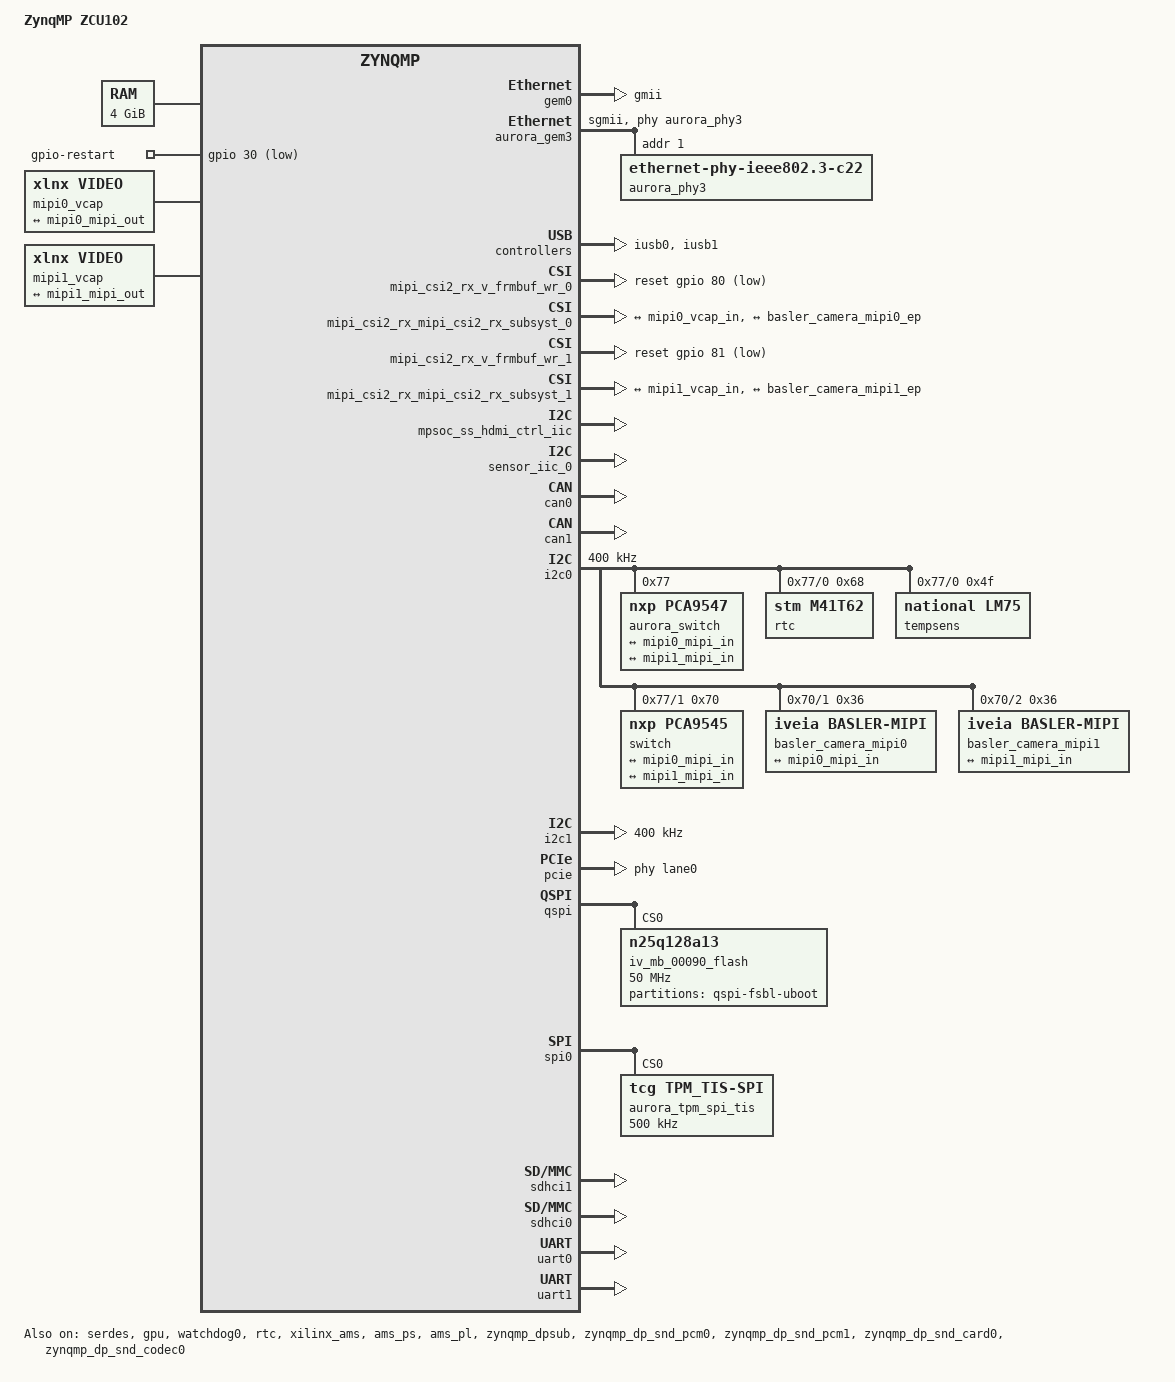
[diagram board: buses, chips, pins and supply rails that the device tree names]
/*
* dts file for iVeia Atlas-II-Z8
*
*
* Patrick Cleary <pcleary@iveia.com>
*
* This program is free software; you can redistribute it and/or
* modify it under the terms of the GNU General Public License as
* published by the Free Software Foundation; either version 2 of
* the License, or (at your option) any later version.
*/

/dts-v1/;

#include "zynqmp.dtsi"
#include "zynqmp-clk-ccf.dtsi"
#include <dt-bindings/gpio/gpio.h>
#include <dt-bindings/phy/phy.h>
#include <dt-bindings/media/xilinx-vip.h>

/ {
	model = "ZynqMP ZCU102";
	compatible = "xlnx,zynqmp-zcu102", "xlnx,zynqmp";


	aliases {
		ethernet0 = &gem0;
		gpio0 = &gpio;
		i2c0 = &i2c0;
		i2c1 = &i2c1;
		rtc0 = &rtc;
		serial0 = &uart1;
		serial1 = &uart0;
		spi0 = &qspi;
		usb0 = &iusb0;
		usb1 = &iusb1;
	};

	chosen {
                //bootargs = "console=ttyPS1,115200n8 earlycon=cdns,mmio,0xff010000,115200n8 init=/init video=DP-1:1024x768@60 root=/dev/mmcblk0p2 rw rootfstype=ext4 drm.debug=0xf rootwait androidboot.selinux=disabled androidboot.hardware=zcu102 qemu=1";
		//bootargs = "console=ttyPS0,115200n8 single root=/dev/mmcblk0p3 rw rootfstype=ext4 rootwait rw earlyprintk loglevel=9";
                //bootargs = "console=ttyPS1,115200n8 rw earlyprintk loglevel=9";
                bootargs = "earlycon loglevel=9";
                stdout-path = "serial0:115200n8";
	};

	memory {
		device_type = "memory";
		reg = <0x0 0x0 0x0 0x80000000>, <0x8 0x00000000 0x0 0x80000000>;
	};


};


&gem0 {
        phy-mode = "gmii";
        status = "okay";
        xlnx,ptp-enet-clock = <0x0>;
        clock-names = "pclk", "hclk", "tx_clk", "rx_clk", "tsu_clk";
        clocks = <&clk 31>, <&clk 104>, <&clk 45>, <&clk 49>, <&clk 44>;
};
        

&amba {

	sv_driver_plat@80000000 {
		compatible = "xlnx,sv_driver_plat";
		interrupt-parent = <&gic>;
		interrupts = <0x0 106 0x4>;
		reg = <0x0 0x80000000 0x0 0x1000 0x0 0x80001000 0x0 0x1000 0x0 0x80002000 0x0 0x1000 0x0 0x88000000 0x0 0x4000000 0x0 0x8C000000 0x0 0x4000000>;
	};

        fake_touch {
                compatible = "iveia,fakets";
        };
        
        gpio-restart {
                compatible = "gpio-restart";
                gpios = <&gpio 30 1>;
                priority = <128>;
                active-delay = <100>;
                inactive-delay = <100>;
                wait-delay = <3000>;
        };

        /*
        aurora_gem0: aurora_gem0@ff0b0000 {
                compatible = "cdns,zynqmp-gem", "cdns,gem";
                status = "okay";
                interrupt-parent = <&gic>;
                interrupts = <0 57 4>, <0 57 4>;
                reg = <0x0 0xff0b0000 0x0 0x1000>;
                clocks = <&clk 31>, <&clk 104>, <&clk 45>, <&clk 49>, <&clk 44>;
                clock-names = "pclk", "hclk", "tx_clk", "rx_clk", "tsu_clk";
                #address-cells = <1>;
                #size-cells = <0>;
                #stream-id-cells = <1>;
                iommus = <&smmu 0x874>;
                power-domains = <&pd_eth0>;
                phy-mode = "gmii";
                xlnx,ptp-enet-clock = <0x00000000>;
                
                //phy-handle = <&aurora_phy0>;
                //use-internal-mdio = <1>;

                //aurora_phy0: phy@0 {
                //        compatible = "ethernet-phy-ieee802.3-c22";
                //        device_type = "ethernet-phy";
                //        reg = <1>;
                //};
        };
        */

        // ETH3
        aurora_gem3: aurora_gem3@ff0e0000 {
                //Aurora and Watershed have same PHY Connection
		compatible = "cdns,zynqmp-gem", "cdns,gem";
		status = "okay";
		interrupt-parent = <&gic>;
		interrupts = <0 63 4>, <0 63 4>;
		reg = <0x0 0xff0e0000 0x0 0x1000>;
		clocks = <&clk 31>, <&clk 107>, <&clk 48>, <&clk 52>, <&clk 44>;
		clock-names = "pclk", "hclk", "tx_clk", "rx_clk", "tsu_clk";
		#address-cells = <1>;
		#size-cells = <0>;
		#stream-id-cells = <1>;
		iommus = <&smmu 0x877>;
		power-domains = <&pd_eth3>;
                phy-mode = "sgmii";
                phy-names = "sgmii-phy";

                phy-handle = <&aurora_phy3>;
                use-internal-mdio = <1>;

                aurora_phy3: phy@0 {
                        compatible = "ethernet-phy-ieee802.3-c22";
                        device_type = "ethernet-phy";
                        reg = <1>;
                };
        };

	iusb0: iusb0 {//May need to delete for Atlas-III-Z8 RevA or RevB
		#address-cells = <2>;
		#size-cells = <2>;
		status = "okay";
		compatible = "xlnx,zynqmp-dwc3";
		reg = <0x0 0xff9d0000 0x0 0x100>;
		clocks = <&clk 32>, <&clk 34>;
		clock-names = "bus_clk", "ref_clk";
		power-domains = <&pd_usb0>;
		ranges;
		nvmem-cells = <&soc_revision>;
		nvmem-cell-names = "soc_revision";
                
		iv_dwc3_0: iv_dwc3@fe200000 {
			compatible = "snps,dwc3";
			status = "okay";
			reg = <0x0 0xfe200000 0x0 0x40000>;
			interrupt-parent = <&gic>;
			interrupts = <0 65 4>, <0 69 4>, <0 75 4>;
			#stream-id-cells = <1>;
			iommus = <&smmu 0x860>;
			snps,quirk-frame-length-adjustment = <0x20>;
			snps,refclk_fladj;
			snps,enable_guctl1_resume_quirk;
			snps,enable_guctl1_ipd_quirk;
			snps,xhci-stream-quirk;
			/* dma-coherent; */
			/* snps,enable-hibernation; */
                        
	                dr_mode = "host";
	                snps,usb3_lpm_capable;
	                phy-names = "usb3-phy";
	                //phys = <&lane0 PHY_TYPE_USB3 0 2 26000000>;
                        
		};
                
	};

	iusb1: iusb1 {//May need to delete for Atlas-III-Z8 RevA or RevB
		#address-cells = <2>;
		#size-cells = <2>;
		status = "okay";
		compatible = "xlnx,zynqmp-dwc3";
		reg = <0x0 0xff9e0000 0x0 0x100>;
		clocks = <&clk 33>, <&clk 34>;
		clock-names = "bus_clk", "ref_clk";
                
		power-domains = <&pd_usb1>;
		ranges;
		nvmem-cells = <&soc_revision>;
		nvmem-cell-names = "soc_revision";
                
		iv_dwc3_1: iv_dwc3_1@fe300000 {
			compatible = "snps,dwc3";
			status = "okay";
			reg = <0x0 0xfe300000 0x0 0x40000>;
			interrupt-parent = <&gic>;
			interrupts = <0 70 4>, <0 74 4>, <0 76 4>;
			#stream-id-cells = <1>;
			iommus = <&smmu 0x861>;
			snps,quirk-frame-length-adjustment = <0x20>;
			snps,refclk_fladj;
			snps,enable_guctl1_resume_quirk;
			snps,enable_guctl1_ipd_quirk;
			snps,xhci-stream-quirk;
			/* dma-coherent; */
                        
			// Required for USB 2.0
			snps,dis_u2_susphy_quirk;
			snps,dis_u3_susphy_quirk;
                        
			dr_mode = "peripheral";
			maximum-speed = "high-speed";
                        
		};
	};
        

//        misc_clk_0: misc_clk_0 {
//                #clock-cells = <0>;
//                clock-frequency = <300000000>;
//                compatible = "fixed-clock";
//        };

		misc_clk_0: misc_clk_0 {
			#clock-cells = <0>;
			clock-frequency = <299970032>;
			compatible = "fixed-clock";
		};
		axi_timer_0: timer@a0053000 {
			clock-frequency = <99990005>;
			clock-names = "s_axi_aclk";
			clocks = <&clk 71>;
			compatible = "xlnx,axi-timer-2.0", "xlnx,xps-timer-1.00.a";
			interrupt-names = "interrupt";
			interrupt-parent = <&gic>;
			interrupts = <0 110 4>;
			reg = <0x0 0xa0053000 0x0 0x1000>;
			xlnx,count-width = <0x20>;
			xlnx,gen0-assert = <0x1>;
			xlnx,gen1-assert = <0x1>;
			xlnx,one-timer-only = <0x0>;
			xlnx,trig0-assert = <0x1>;
			xlnx,trig1-assert = <0x1>;
		};

		mipi_csi2_rx_v_frmbuf_wr_0: v_frmbuf_wr@a0260000 {
			#dma-cells = <1>;
			clock-names = "ap_clk";
			clocks = <&misc_clk_0>;
			//clocks = <&zynqmp_clk 72>;
			compatible = "xlnx,v-frmbuf-wr-2", "xlnx,axi-frmbuf-wr-v2";
			interrupt-names = "interrupt";
			interrupt-parent = <&gic>;
			interrupts = <0 106 4>;
			reg = <0x0 0xa0260000 0x0 0x10000>;
			reset-gpios = <&gpio 80 1>;
			xlnx,dma-addr-width = <32>;
			xlnx,dma-align = <16>;
			xlnx,max-width = <4208>;
			xlnx,max-height = <3120>;
			xlnx,pixels-per-clock = <2>;
			xlnx,s-axi-ctrl-addr-width = <0x7>;
			xlnx,s-axi-ctrl-data-width = <0x20>;
			xlnx,vid-formats = "bgr888", "xbgr8888", "xrgb8888", "uyvy", "y8", "vuy888", "xvuy8888", "yuyv", "nv12", "nv16";
			xlnx,video-width = <8>;
		};

                mipi_csi2_rx_mipi_csi2_rx_subsyst_0: mipi_csi2_rx_subsystem@a0000000 {
			clock-names = "lite_aclk", "dphy_clk_200M", "video_aclk";
			clocks = <&clk 71>, <&misc_clk_1>, <&clk 72>;
			compatible = "xlnx,mipi-csi2-rx-subsystem-3.0";
			interrupt-names = "csirxss_csi_irq";
                        status = "okay";
			interrupt-parent = <&gic>;
			interrupts = <0 105 4>;
			reg = <0x0 0xa0000000 0x0 0x10000>;
			xlnx,axis-tdata-width = <32>;
			xlnx,cal-mode = "NONE";
			xlnx,clk-io-swap = "false";
			xlnx,clk-lane-io-position = <0x6>;
			xlnx,clk-lp-io-swap = "false";
			xlnx,csi-en-activelanes = "false";
			xlnx,csi-en-crc = "true";
			xlnx,csi-filter-userdatatype = "true";
			xlnx,csi-opt1-regs = "false";
			xlnx,csi-pxl-format = "YUV422_8bit";
			xlnx,csi2rx-dbg = <0x0>;
			xlnx,data-lane0-io-position = <0x2>;
			xlnx,data-lane1-io-position = <0x4>;
			xlnx,data-lane2-io-position = <0x8>;
			xlnx,data-lane3-io-position = <0x0>;
			xlnx,dl0-io-swap = "false";
			xlnx,dl0-lp-io-swap = "false";
			xlnx,dl1-io-swap = "false";
			xlnx,dl1-lp-io-swap = "false";
			xlnx,dl2-io-swap = "false";
			xlnx,dl2-lp-io-swap = "false";
			xlnx,dl3-io-swap = "false";
			xlnx,dl3-lp-io-swap = "false";
			xlnx,dphy-lanes = <0x4>;
			xlnx,dphy-mode = "SLAVE";
			xlnx,en-bg0-pin0 = "false";
			xlnx,en-bg0-pin6 = "false";
			xlnx,en-bg1-pin0 = "false";
			xlnx,en-bg1-pin6 = "false";
			xlnx,en-bg2-pin0 = "false";
			xlnx,en-bg2-pin6 = "false";
			xlnx,en-bg3-pin0 = "false";
			xlnx,en-bg3-pin6 = "false";
			xlnx,en-clk300m = "false";
			xlnx,en-cnts-byte-clk = "false";
			xlnx,en-csi-v2-0 = "false";
			xlnx,en-exdesigns = "false";
			xlnx,en-timeout-regs = "false";
			xlnx,en-vcx = "false";
			xlnx,esc-timeout = <0x6400>;
			xlnx,exdes-board = "ZCU102";
			xlnx,exdes-config = "MIPI_Video_Pipe_Camera_to_Display";
			xlnx,exdes-fmc = "LI-IMX274MIPI-FMC V1.0 Single Sensor";
			xlnx,fifo-rd-en-control = "true";
			xlnx,hs-line-rate = <0x4b0>;
			xlnx,hs-settle-ns = <0x8f>;
			xlnx,hs-timeout = <0x10005>;
			xlnx,idly-group-name = "mipi_csi2rx_idly_group";
			xlnx,idly-tap = <0x1>;
			xlnx,init = <0x186a0>;
			xlnx,is-7series = "false";
			xlnx,is-versal = "false";
			xlnx,max-lanes = <4>;
			xlnx,mipi-slv-int = <0x0>;
			xlnx,ppc = <2>;
			xlnx,rcve-alt-deskew-seq = "false";
			xlnx,rcve-deskew-seq = "false";
			xlnx,share-idlyctrl = "false";
			xlnx,stretch-line-rate = <0x9c4>;
			xlnx,vc = <4>;
			xlnx,vfb ;

			mipi0_ports: ports {
				#address-cells = <0x1>;
				#size-cells = <0x0>;
                                
				mipi0_port0: port@0 {
					reg = <0x0>;
                                        //xlnx,cfa-pattern = "rggb";
					xlnx,video-format = <0x0>;
					xlnx,video-width = <0x8>;
                                        
					mipi0_mipi_out: endpoint {
						remote-endpoint = <&mipi0_vcap_in>;
					};
				};
				mipi0_port1: port@1 {
					reg = <0x1>;
                                        //xlnx,cfa-pattern = "rggb";
					xlnx,video-format = <0x0>;
					xlnx,video-width = <0x8>;
                                        
					mipi0_mipi_in: endpoint {
                                                remote-endpoint = <&basler_camera_mipi0_ep>;
                                                //remote-endpoint = <&dummy_in02>;
					};
				};
			};
                };
                
		mipi0_vcap {
			compatible = "xlnx,video";
			dma-names = "port0";
			dmas = <&mipi_csi2_rx_v_frmbuf_wr_0 0x0>;

			mipi0_vcap_ports: ports {
				#address-cells = <0x1>;
				#size-cells = <0x0>;

				mipi0_port: port@0 {
					direction = "input";
					reg = <0x0>;

					mipi0_vcap_in: endpoint {
						remote-endpoint = <&mipi0_mipi_out>;
					};
				};
			};
		};

		mipi_csi2_rx_v_frmbuf_wr_1: v_frmbuf_wr@a0010000 {
			#dma-cells = <1>;
			clock-names = "ap_clk";
			clocks = <&misc_clk_0>;
			//clocks = <&zynqmp_clk 72>;
			compatible = "xlnx,v-frmbuf-wr-2", "xlnx,axi-frmbuf-wr-v2";
			interrupt-names = "interrupt";
			interrupt-parent = <&gic>;
			interrupts = <0 109 4>;
			reg = <0x0 0xa0010000 0x0 0x10000>;
			reset-gpios = <&gpio 81 1>;
			xlnx,dma-addr-width = <32>;
			xlnx,dma-align = <16>;
			xlnx,max-width = <4208>;
			xlnx,max-height = <3120>;
			xlnx,pixels-per-clock = <2>;
			xlnx,s-axi-ctrl-addr-width = <0x7>;
			xlnx,s-axi-ctrl-data-width = <0x20>;
			xlnx,vid-formats = "bgr888", "xbgr8888", "xrgb8888", "uyvy", "y8", "vuy888", "xvuy8888", "yuyv", "nv12", "nv16";
			xlnx,video-width = <8>;
		};

                mipi_csi2_rx_mipi_csi2_rx_subsyst_1: mipi_csi2_rx_subsystem@a0020000 {
			clock-names = "lite_aclk", "dphy_clk_200M", "video_aclk";
			clocks = <&clk 71>, <&misc_clk_1>, <&clk 72>;
			compatible = "xlnx,mipi-csi2-rx-subsystem-3.0";
			interrupt-names = "csirxss_csi_irq";
                        status = "okay";
			interrupt-parent = <&gic>;
			interrupts = <0 108 4>;
			reg = <0x0 0xa0020000 0x0 0x10000>;
			xlnx,axis-tdata-width = <32>;
			xlnx,cal-mode = "NONE";
			xlnx,clk-io-swap = "false";
			xlnx,clk-lane-io-position = <0x6>;
			xlnx,clk-lp-io-swap = "false";
			xlnx,csi-en-activelanes = "false";
			xlnx,csi-en-crc = "true";
			xlnx,csi-filter-userdatatype = "true";
			xlnx,csi-opt1-regs = "false";
			xlnx,csi-pxl-format = "YUV422_8bit";
			xlnx,csi2rx-dbg = <0x0>;
			xlnx,data-lane0-io-position = <0x2>;
			xlnx,data-lane1-io-position = <0x4>;
			xlnx,data-lane2-io-position = <0x8>;
			xlnx,data-lane3-io-position = <0x0>;
			xlnx,dl0-io-swap = "false";
			xlnx,dl0-lp-io-swap = "false";
			xlnx,dl1-io-swap = "false";
			xlnx,dl1-lp-io-swap = "false";
			xlnx,dl2-io-swap = "false";
			xlnx,dl2-lp-io-swap = "false";
			xlnx,dl3-io-swap = "false";
			xlnx,dl3-lp-io-swap = "false";
			xlnx,dphy-lanes = <0x4>;
			xlnx,dphy-mode = "SLAVE";
			xlnx,en-bg0-pin0 = "false";
			xlnx,en-bg0-pin6 = "false";
			xlnx,en-bg1-pin0 = "false";
			xlnx,en-bg1-pin6 = "false";
			xlnx,en-bg2-pin0 = "false";
			xlnx,en-bg2-pin6 = "false";
			xlnx,en-bg3-pin0 = "false";
			xlnx,en-bg3-pin6 = "false";
			xlnx,en-clk300m = "false";
			xlnx,en-cnts-byte-clk = "false";
			xlnx,en-csi-v2-0 = "false";
			xlnx,en-exdesigns = "false";
			xlnx,en-timeout-regs = "false";
			xlnx,en-vcx = "false";
			xlnx,esc-timeout = <0x6400>;
			xlnx,exdes-board = "ZCU102";
			xlnx,exdes-config = "MIPI_Video_Pipe_Camera_to_Display";
			xlnx,exdes-fmc = "LI-IMX274MIPI-FMC V1.0 Single Sensor";
			xlnx,fifo-rd-en-control = "true";
			xlnx,hs-line-rate = <0x4b0>;
			xlnx,hs-settle-ns = <0x8f>;
			xlnx,hs-timeout = <0x10005>;
			xlnx,idly-group-name = "mipi_csi2rx_idly_group";
			xlnx,idly-tap = <0x1>;
			xlnx,init = <0x186a0>;
			xlnx,is-7series = "false";
			xlnx,is-versal = "false";
			xlnx,max-lanes = <4>;
			xlnx,mipi-slv-int = <0x0>;
			xlnx,ppc = <2>;
			xlnx,rcve-alt-deskew-seq = "false";
			xlnx,rcve-deskew-seq = "false";
			xlnx,share-idlyctrl = "false";
			xlnx,stretch-line-rate = <0x9c4>;
			xlnx,vc = <4>;
			xlnx,vfb ;

			mipi1_ports: ports {
				#address-cells = <0x1>;
				#size-cells = <0x0>;
                                
				mipi1_port0: port@0 {
					reg = <0x0>;
                                        //xlnx,cfa-pattern = "rggb";
					xlnx,video-format = <0x0>;
					xlnx,video-width = <0x8>;
                                        
					mipi1_mipi_out: endpoint {
						remote-endpoint = <&mipi1_vcap_in>;
					};
				};
				mipi1_port1: port@1 {
					reg = <0x1>;
                                        //xlnx,cfa-pattern = "rggb";
					xlnx,video-format = <0x0>;
					xlnx,video-width = <0x8>;
                                        
					mipi1_mipi_in: endpoint {
                                                remote-endpoint = <&basler_camera_mipi1_ep>;
                                                //remote-endpoint = <&dummy_in02>;
					};
				};
			};
                };
                
		mipi1_vcap {
			compatible = "xlnx,video";
			dma-names = "port0";
			dmas = <&mipi_csi2_rx_v_frmbuf_wr_1 0x0>;

			mipi1_vcap_ports: ports {
				#address-cells = <0x1>;
				#size-cells = <0x0>;

				mipi1_port: port@0 {
					direction = "input";
					reg = <0x0>;

					mipi1_vcap_in: endpoint {
						remote-endpoint = <&mipi1_mipi_out>;
					};
				};
			};
		};

		misc_clk_1: misc_clk_1 {
			#clock-cells = <0>;
			clock-frequency = <199980021>;
			compatible = "fixed-clock";
		};
		mpsoc_ss_hdmi_ctrl_iic: i2c@a0050000 {
			#address-cells = <1>;
			#size-cells = <0>;
			clock-names = "s_axi_aclk";
			clocks = <&clk 71>;
			compatible = "xlnx,axi-iic-2.0", "xlnx,xps-iic-2.00.a";
			interrupt-names = "iic2intc_irpt";
			interrupt-parent = <&gic>;
			interrupts = <0 94 4>;
			reg = <0x0 0xa0050000 0x0 0x1000>;
		};
		sensor_iic_0: i2c@a0051000 {
			#address-cells = <1>;
			#size-cells = <0>;
			clock-names = "s_axi_aclk";
			clocks = <&clk 71>;
			compatible = "xlnx,axi-iic-2.0", "xlnx,xps-iic-2.00.a";
			interrupt-names = "iic2intc_irpt";
			interrupt-parent = <&gic>;
			interrupts = <0 107 4>;
			reg = <0x0 0xa0051000 0x0 0x1000>;
		};
/*
	vcu_0: vcu@a0100000 {
			#address-cells = <2>;
			#clock-cells = <1>;
			#size-cells = <2>;
			clock-names = "pll_ref", "aclk", "vcu_core_enc", "vcu_core_dec", "vcu_mcu_enc", "vcu_mcu_dec";
			clocks = <&misc_clk_2>, <&clk 71>, <&vcu_0 1>, <&vcu_0 2>, <&vcu_0 3>, <&vcu_0 4>;
			compatible = "xlnx,vcu-1.2", "xlnx,vcu";
			interrupt-names = "vcu_host_interrupt";
			interrupt-parent = <&gic>;
			interrupts = <0 96 4>;
			ranges ;
			reg = <0x0 0xa0140000 0x0 0x1000>, <0x0 0xa0141000 0x0 0x1000>;
			reg-names = "vcu_slcr", "logicore";
			reset-gpios = <&gpio 119 0>;
			encoder: al5e@a0100000 {
				compatible = "al,al5e-1.2", "al,al5e";
				interrupt-parent = <&gic>;
				interrupts = <0 96 4>;
				reg = <0x0 0xa0100000 0x0 0x10000>;
			};
			decoder: al5d@a0120000 {
				compatible = "al,al5d-1.2", "al,al5d";
				interrupt-parent = <&gic>;
				interrupts = <0 96 4>;
				reg = <0x0 0xa0120000 0x0 0x10000>;
			};
		};
*/
		misc_clk_2: misc_clk_2 {
			#clock-cells = <0>;
			clock-frequency = <33330003>;
			compatible = "fixed-clock";
		};

        
};

&pss_ref_clk {
        clock-frequency = <50000000>;
};

&fclk0 {
	status = "okay";
	clock-frequency = <50000000>;
};

&fclk1 {
	status = "okay";
	clock-frequency = <100000000>;
};

&fclk2 {
	status = "okay";
	clock-frequency = <150000000>;
};

&fclk3 {
	status = "okay";
	clock-frequency = <100000000>;
};

&serdes {
	status = "okay";
};

&can0 {
	status = "okay";
};

&can1 {
	status = "okay";
};

&gpio {
	status = "okay";
};


&fpd_dma_chan1 {
	status = "okay";
};

&fpd_dma_chan2 {
	status = "okay";
};

&fpd_dma_chan3 {
	status = "okay";
};

&fpd_dma_chan4 {
	status = "okay";
};

&fpd_dma_chan5 {
	status = "okay";
};

&fpd_dma_chan6 {
	status = "okay";
};

&fpd_dma_chan7 {
	status = "okay";
};

&fpd_dma_chan8 {
	status = "okay";
};

&gpio {
	status = "okay";
};

&gpu {
	status = "okay";
};

&watchdog0 {
	status = "okay";
};

&i2c0 {
	status = "okay";
	clock-frequency = <400000>;
        
	aurora_switch@77 {
                compatible = "nxp,pca9547";
                #address-cells = <1>;
                #size-cells = <0>;
                reg = <0x77>;
	        
		i2c@0 {
			#address-cells = <1>;
                        #size-cells = <0>;
                        reg = <0>;
	                
                        rtc@68 {
                                compatible = "stm,m41t62";
                                reg = <0x68>;
                        };
                        
                        tempsens@4f {
                                compatible = "national,lm75";
                                reg = <0x4f>;
                        };			
                };
		i2c@1 {
                        #address-cells=<1>;
                        #size-cells = <0>;
                        reg = <1>;
                        
                        switch@70 {
                                compatible = "nxp,pca9545";
                                #address-cells = <1>;
                                #size-cells = <0>;
                                reg = <0x70>;
                                i2c_70@0 {
                                        #address-cells = <1>;
                                        #size-cells = <0>;
                                        reg = <0>;                                        
                                };
                                i2c_70@1 {
                                        #address-cells = <1>;
                                        #size-cells = <0>;
                                        reg = <1>;
                                        basler_camera_mipi0: basler_camera_mipi0@36 {
                                                compatible = "iveia,basler-mipi";
                                                reg = <0x36>;
                                                status = "okay";
                                                
                                                port {
                                                        basler_camera_mipi0_ep: endpoint {
                                                                //remote-endpoint = <&mipi1_sensor_ep>;
                                                                //remote-endpoint = <&dummy_control>;
                                                                remote-endpoint = <&mipi0_mipi_in>;
                                                                
                                                                // IMPORTANT: The following three entries needs to be held
                                                                // in sync with the information stored in the mipi1_sensor_ep node. 
                                                                data-lanes = <1 2 3 4>;
                                                                clock-lanes = <0>;
                                                                link-frequencies = /bits/ 64 <120000000>;
                                                        };
                                                };
                                                
                                        };
                                        
                                };
                                i2c_70@2 {
                                        #address-cells = <1>;
                                        #size-cells = <0>;
                                        reg = <2>;

                                        basler_camera_mipi1: basler_camera_mipi1@36 {
                                                compatible = "iveia,basler-mipi";
                                                reg = <0x36>;
                                                status = "okay";
                                                
                                                port {
                                                        basler_camera_mipi1_ep: endpoint {
                                                                remote-endpoint = <&mipi1_mipi_in>;
                                                                
                                                                // IMPORTANT: The following three entries needs to be held
                                                                // in sync with the information stored in the mipi1_sensor_ep node.
                                                                data-lanes = <1 2 3 4>;
                                                                clock-lanes = <0>;
                                                                link-frequencies = /bits/ 64 <248000000>;
                                                        };
                                                };
                                        };
                                };
                                i2c_70@3 {
                                        #address-cells = <1>;
                                        #size-cells = <0>;
                                        reg = <3>;
                                };
		        }; // end switch@70                        
	        }; // end i2c@1
        }; // end switch @77
}; // end &i2c0

&i2c1 {
	status = "okay";
	clock-frequency = <400000>;
};

&pcie {
	status = "okay";
	phys = <&lane0 PHY_TYPE_PCIE 0 0 100000000>;
};

&qspi {
        status = "okay";
        is-dual = <0>;
        iv_mb_00090_flash@0 {
                compatible = "n25q128a13";
                #address-cells = <1>;
                #size-cells = <1>;
                reg = <0x0>;
                spi-max-frequency = <50000000>;
                partition@qspi-fsbl-uboot {
                        label = "qspi-fsbl-uboot";
                        reg = <0x0 0x1000000>;
                };
        };
};

&spi0 {
	status = "okay";

	aurora_tpm_spi_tis@0{
		compatible = "tcg,tpm_tis-spi";
 		reg = <0>;	/* CE0 */
 		spi-max-frequency = <500000>;
 	};
};

&rtc {
	status = "okay";
};

/* SD1 with level shifter */
&sdhci1 {
	status = "okay";
	no-1-8-v;
	xlnx,mio_bank = <1>;
	disable-wp;
};

&sdhci0 {
	status = "okay";
	no-1-8-v;
	xlnx,mio_bank = <0>;
	disable-wp;
};

&uart0 {
	status = "okay";
};

&uart1 {
	status = "okay";
};

&xilinx_ams {
	status = "okay";
};

&ams_ps {
	status = "okay";
};

&ams_pl {
	status = "okay";
};

//In ZCU102 DTS. Added with kernel update for 2018.3

&zynqmp_dpsub {
//	status = "okay";
//	phy-names = "dp-phy0", "dp-phy1";
//	phys = <&lane1 PHY_TYPE_DP 0 3 27000000>, <&lane0 PHY_TYPE_DP 1 3 27000000>;

        // Taken from the dev tree generator
        phy-names = "dp-phy0";
        phys = <&lane1 PHY_TYPE_DP 0 0 27000000>;
        status = "okay";
        xlnx,max-lanes = <1>;
};

&zynqmp_dp_snd_pcm0 {
	status = "okay";
};

&zynqmp_dp_snd_pcm1 {
	status = "okay";
};

&zynqmp_dp_snd_card0 {
	status = "okay";
};

&zynqmp_dp_snd_codec0 {
	status = "okay";
};

&xlnx_dpdma {
	status = "okay";
};
